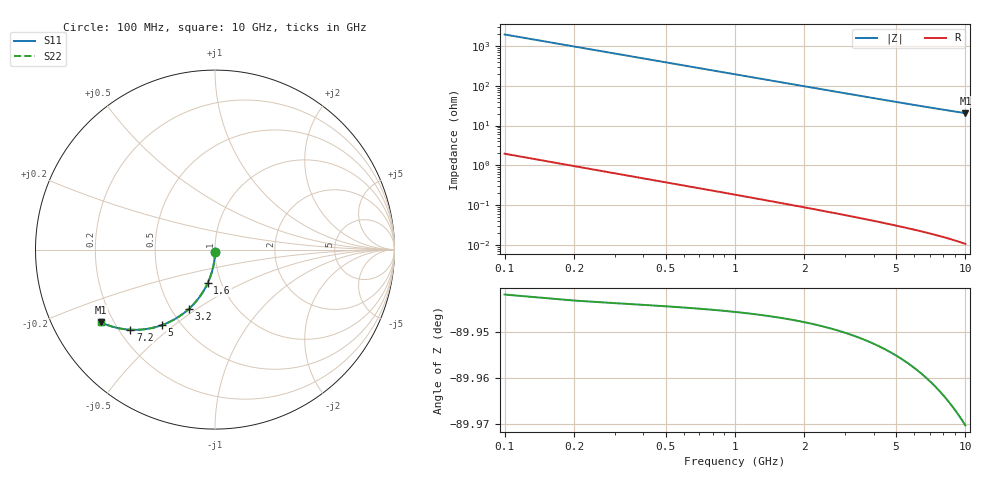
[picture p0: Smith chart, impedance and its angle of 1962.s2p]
# Hz S RI R 50.00
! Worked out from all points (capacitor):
!   100 points, 100 MHz to 10 GHz, reference 50 ohm
!   read as one part in shunt: C = 823 fF near 100 MHz
!   lowest |Z| = 20.5 ohm at 10 GHz (marker M1)
!   S11 on the Smith chart (normalised r, x): 100 MHz: 1.00, -0.02; 1.6 GHz: 0.86, -0.33; 3.2 GHz: 0.61, -0.46; 5 GHz: 0.39, -0.45; 7.2 GHz: 0.24, -0.38; 10 GHz: 0.15, -0.28
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1e8  0.000197 -0.0122  0.9994 -0.0136  0.9994 -0.0136  0.000197 -0.0122
2e8  -0.000313 -0.0244  0.9989 -0.0273  0.9989 -0.0273  -0.000313 -0.0244
3e8  -0.00116 -0.0366  0.9981 -0.0409  0.9981 -0.0409  -0.00116 -0.0366
4e8  -0.00233 -0.0487  0.9969 -0.0545  0.9969 -0.0545  -0.00233 -0.0487
5e8  -0.00383 -0.0608  0.9954 -0.068  0.9954 -0.068  -0.00383 -0.0608
6e8  -0.00566 -0.0728  0.9935 -0.0814  0.9935 -0.0814  -0.00566 -0.0728
7e8  -0.00781 -0.0848  0.9914 -0.0948  0.9914 -0.0948  -0.00781 -0.0848
9e8  -0.0131 -0.1084  0.9861 -0.1213  0.9861 -0.1213  -0.0131 -0.1084
1.2e9  -0.0232 -0.143  0.9758 -0.1602  0.9758 -0.1602  -0.0232 -0.143
1.6e9  -0.0408 -0.1871  0.9581 -0.21  0.9581 -0.21  -0.0408 -0.1871
1.8e9  -0.0512 -0.2081  0.9477 -0.2339  0.9477 -0.2339  -0.0512 -0.2081
2.4e9  -0.0878 -0.2663  0.9108 -0.3007  0.9108 -0.3007  -0.0878 -0.2663
3.2e9  -0.1466 -0.3312  0.8515 -0.3771  0.8515 -0.3771  -0.1466 -0.3312
3.4e9  -0.1626 -0.3449  0.8354 -0.3938  0.8354 -0.3938  -0.1626 -0.3449
4.2e9  -0.2292 -0.3904  0.7681 -0.4509  0.7681 -0.4509  -0.2292 -0.3904
5e9  -0.2975 -0.4213  0.6991 -0.4935  0.6991 -0.4935  -0.2975 -0.4213
5.1e9  -0.3059 -0.4242  0.6905 -0.4978  0.6905 -0.4978  -0.3059 -0.4242
5.9e9  -0.3722 -0.4407  0.6233 -0.5262  0.6233 -0.5262  -0.3722 -0.4407
6.7e9  -0.4346 -0.4468  0.5598 -0.5442  0.5598 -0.5442  -0.4346 -0.4468
7.2e9  -0.4711 -0.4463  0.5225 -0.5512  0.5225 -0.5512  -0.4711 -0.4463
8.4e9  -0.5502 -0.4349  0.4413 -0.558  0.4413 -0.558  -0.5502 -0.4349
1e10  -0.637 -0.4045  0.351 -0.5525  0.351 -0.5525  -0.637 -0.4045
